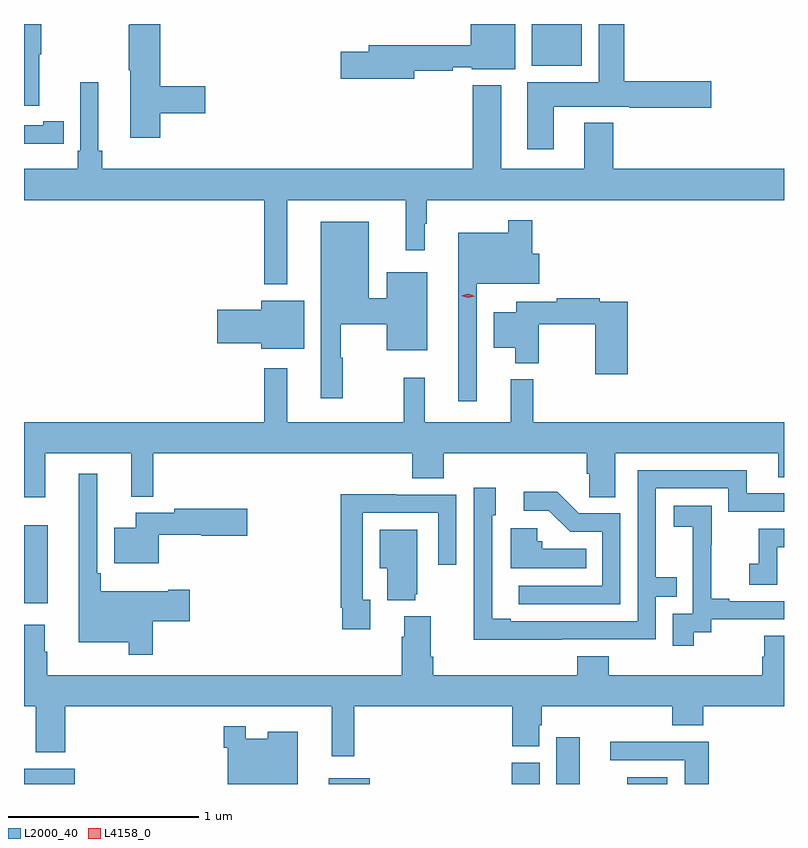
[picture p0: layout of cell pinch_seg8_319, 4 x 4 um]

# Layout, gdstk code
import gdstk
lib = gdstk.Library(unit=1e-6, precision=1e-09)
def R(c, l, rs):  # rectangles x0, y0, x1, y1
    for r in rs: c.add(gdstk.rectangle(r[:2], r[2:], *l))
def P(c, l, *ps):  # polygons
    for p in ps: c.add(gdstk.Polygon(p, *l))
L2000_40 = (2000, 40)
L4158_0 = (4158, 0)

pinch_seg8_319 = lib.new_cell('pinch_seg8_319')
R(pinch_seg8_319, L2000_40, [(613.442,1148.059,613.71,1148.14), (615.047,1148.059,615.262,1148.089), (616.01,1148.059,616.156,1148.172), (616.244,1148.059,616.366,1148.305), (616.616,1148.059,616.828,1148.095), (613.442,1149.011,613.567,1149.421), (616.115,1151.84,616.378,1152.059)])
P(pinch_seg8_319, L2000_40, [(614.159,1151.59),(614.395,1151.59),(614.395,1151.732),(614.159,1151.732),(614.159,1152.059),(614,1152.059),(614,1152.056),(613.993,1152.056),(613.993,1151.815),(614,1151.815),(614,1151.46),(614.159,1151.46)],
  [(613.523,1151.899),(613.534,1151.899),(613.534,1152.059),(613.442,1152.059),(613.442,1151.628),(613.523,1151.628)],
  [(616.231,1151.624),(616.627,1151.624),(616.627,1151.617),(617.059,1151.617),(617.059,1151.759),(616.601,1151.759),(616.601,1152.059),(616.466,1152.059),(616.466,1151.752),(616.091,1151.752),(616.091,1151.4),(616.231,1151.4)],
  [(615.496,1151.812),(615.698,1151.812),(615.698,1151.832),(615.798,1151.832),(615.798,1151.822),(616.027,1151.822),(616.027,1152.059),(615.794,1152.059),(615.794,1151.948),(615.257,1151.948),(615.257,1151.912),(615.108,1151.912),(615.108,1151.77),(615.496,1151.77)],
  [(614.827,1151.132),(615.452,1151.132),(615.452,1150.869),(615.55,1150.869),(615.55,1151.009),(615.562,1151.009),(615.562,1151.132),(617.442,1151.132),(617.442,1151.296),(616.544,1151.296),(616.544,1151.539),(616.391,1151.539),(616.391,1151.296),(615.955,1151.296),(615.955,1151.737),(615.803,1151.737),(615.803,1151.296),(613.853,1151.296),(613.853,1151.392),(613.834,1151.392),(613.834,1151.752),(613.737,1151.752),(613.737,1151.392),(613.724,1151.392),(613.724,1151.296),(613.442,1151.296),(613.442,1151.132),(614.706,1151.132),(614.706,1150.688),(614.827,1150.688)],
  [(613.544,1151.43),(613.652,1151.43),(613.652,1151.546),(613.544,1151.546),(613.544,1151.526),(613.442,1151.526),(613.442,1151.429),(613.544,1151.429)],
  [(615.825,1150.691),(616.153,1150.691),(616.153,1150.849),(616.118,1150.849),(616.118,1151.026),(615.99,1151.026),(615.99,1150.96),(615.728,1150.96),(615.728,1150.074),(615.825,1150.074)],
  [(615.119,1150.302),(615.109,1150.302),(615.109,1150.48),(615.35,1150.48),(615.35,1150.343),(615.565,1150.343),(615.565,1150.753),(615.35,1150.753),(615.35,1150.616),(615.256,1150.616),(615.256,1151.017),(615.005,1151.017),(615.005,1150.089),(615.119,1150.089)],
  [(616.619,1150.596),(616.472,1150.596),(616.472,1150.616),(616.246,1150.616),(616.246,1150.596),(616.034,1150.596),(616.034,1150.543),(615.914,1150.543),(615.914,1150.355),(616.028,1150.355),(616.028,1150.274),(616.15,1150.274),(616.15,1150.48),(616.448,1150.48),(616.448,1150.215),(616.619,1150.215)],
  [(614.917,1150.603),(614.69,1150.603),(614.69,1150.556),(614.46,1150.556),(614.46,1150.378),(614.69,1150.378),(614.69,1150.349),(614.917,1150.349)],
  [(616.121,1150.189),(616.004,1150.189),(616.004,1149.964),(615.551,1149.964),(615.551,1150.198),(615.441,1150.198),(615.441,1149.964),(614.827,1149.964),(614.827,1150.246),(614.706,1150.246),(614.706,1149.964),(613.442,1149.964),(613.442,1149.567),(613.553,1149.567),(613.553,1149.8),(614.006,1149.8),(614.006,1149.572),(614.123,1149.572),(614.123,1149.8),(615.485,1149.8),(615.485,1149.667),(615.65,1149.667),(615.65,1149.8),(616.403,1149.8),(616.403,1149.691),(616.416,1149.691),(616.416,1149.568),(616.555,1149.568),(616.555,1149.8),(617.411,1149.8),(617.411,1149.673),(617.442,1149.673),(617.442,1149.964),(616.121,1149.964)],
  [(616.271,1148.82),(616.767,1148.82),(616.767,1149.045),(616.877,1149.045),(616.877,1149.146),(616.767,1149.146),(616.767,1149.615),(617.148,1149.615),(617.148,1149.492),(617.442,1149.492),(617.442,1149.588),(617.245,1149.588),(617.245,1149.711),(616.671,1149.711),(616.671,1148.916),(616.003,1148.916),(616.003,1148.929),(615.907,1148.929),(615.907,1149.122),(615.906,1149.122),(615.906,1149.474),(615.925,1149.474),(615.925,1149.619),(615.81,1149.619),(615.81,1149.125),(615.808,1149.125),(615.808,1148.819),(616.271,1148.819)],
  [(614.12,1148.915),(614.314,1148.915),(614.314,1149.081),(614.201,1149.081),(614.201,1149.073),(613.847,1149.073),(613.847,1149.169),(613.827,1149.169),(613.827,1149.691),(613.73,1149.691),(613.73,1148.804),(613.992,1148.804),(613.992,1148.739),(614.12,1148.739)],
  [(616.581,1149.483),(616.362,1149.483),(616.249,1149.596),(616.071,1149.596),(616.071,1149.498),(616.205,1149.498),(616.316,1149.387),(616.485,1149.387),(616.485,1149.102),(616.047,1149.102),(616.047,1149.006),(616.581,1149.006)],
  [(615.265,1149.03),(615.225,1149.03),(615.225,1149.486),(615.621,1149.486),(615.621,1149.213),(615.717,1149.213),(615.717,1149.582),(615.401,1149.582),(615.401,1149.584),(615.109,1149.584),(615.109,1148.986),(615.117,1148.986),(615.117,1148.874),(615.265,1148.874)],
  [(616.966,1148.857),(617.058,1148.857),(617.058,1148.925),(617.442,1148.925),(617.442,1149.021),(617.155,1149.021),(617.155,1149.034),(617.06,1149.034),(617.06,1149.317),(617.061,1149.317),(617.061,1149.523),(616.863,1149.523),(616.863,1149.413),(616.961,1149.413),(616.961,1149.185),(616.962,1149.185),(616.962,1148.955),(616.857,1148.955),(616.857,1148.787),(616.966,1148.787)],
  [(614.152,1149.37),(614.376,1149.37),(614.376,1149.365),(614.617,1149.365),(614.617,1149.507),(614.232,1149.507),(614.232,1149.487),(614.03,1149.487),(614.03,1149.409),(613.916,1149.409),(613.916,1149.221),(614.152,1149.221)],
  [(616.4,1149.298),(616.17,1149.298),(616.17,1149.336),(616.143,1149.336),(616.143,1149.406),(616.004,1149.406),(616.004,1149.194),(616.4,1149.194)],
  [(617.406,1149.306),(617.442,1149.306),(617.442,1149.402),(617.308,1149.402),(617.308,1149.217),(617.259,1149.217),(617.259,1149.108),(617.406,1149.108)],
  [(615.5,1149.057),(615.511,1149.057),(615.511,1149.397),(615.314,1149.397),(615.314,1149.194),(615.353,1149.194),(615.353,1149.026),(615.5,1149.026)],
  [(617.442,1148.84),(617.339,1148.84),(617.339,1148.73),(617.327,1148.73),(617.327,1148.632),(616.52,1148.632),(616.52,1148.731),(616.355,1148.731),(616.355,1148.632),(615.596,1148.632),(615.596,1148.728),(615.583,1148.728),(615.583,1148.941),(615.443,1148.941),(615.443,1148.834),(615.431,1148.834),(615.431,1148.632),(613.564,1148.632),(613.564,1148.756),(613.552,1148.756),(613.552,1148.896),(613.442,1148.896),(613.442,1148.468),(613.505,1148.468),(613.505,1148.225),(613.658,1148.225),(613.658,1148.468),(615.062,1148.468),(615.062,1148.205),(615.179,1148.205),(615.179,1148.468),(616.013,1148.468),(616.013,1148.257),(616.153,1148.257),(616.153,1148.367),(616.166,1148.367),(616.166,1148.468),(616.853,1148.468),(616.853,1148.369),(617.018,1148.369),(617.018,1148.468),(617.442,1148.468)],
  [(614.884,1148.335),(614.726,1148.335),(614.726,1148.296),(614.61,1148.296),(614.61,1148.362),(614.494,1148.362),(614.494,1148.249),(614.514,1148.249),(614.514,1148.059),(614.884,1148.059)],
  [(617.045,1148.282),(616.527,1148.282),(616.527,1148.184),(616.919,1148.184),(616.919,1148.059),(617.045,1148.059)])
P(pinch_seg8_319, L4158_0, [(615.778,1150.618),(615.744,1150.63),(615.743,1150.63),(615.744,1150.63),(615.779,1150.638),(615.814,1150.626),(615.814,1150.626),(615.814,1150.625)])

lib.write_gds('pinch_seg8_319.gds')
